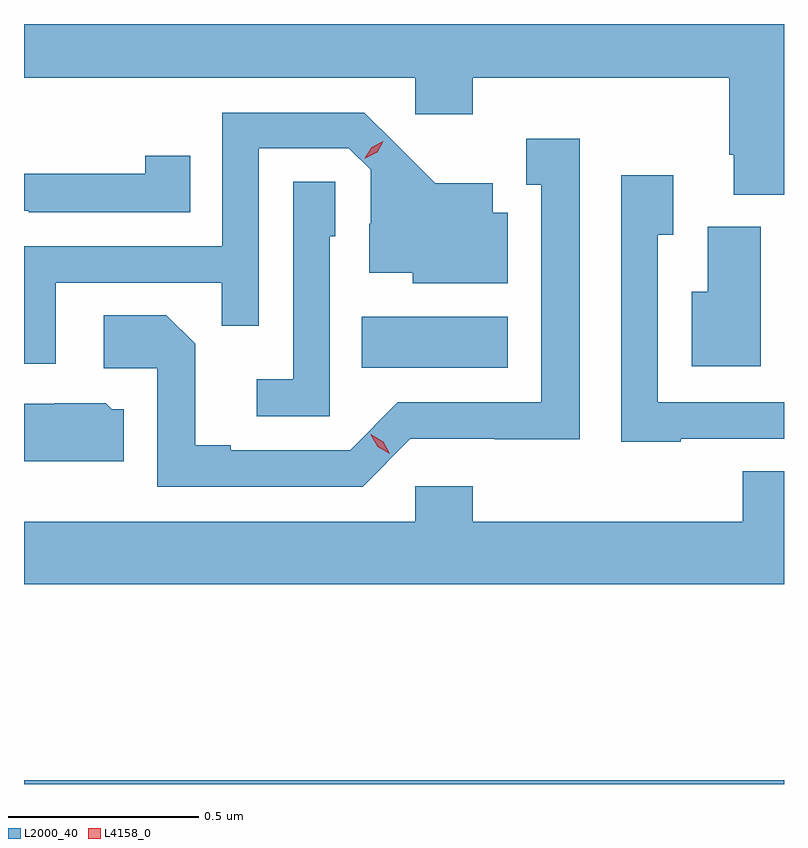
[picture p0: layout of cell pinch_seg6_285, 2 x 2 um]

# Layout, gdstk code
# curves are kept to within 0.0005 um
import gdstk
lib = gdstk.Library(unit=1e-6, precision=1e-09)
def R(c, l, rs):  # rectangles x0, y0, x1, y1
    for r in rs: c.add(gdstk.rectangle(r[:2], r[2:], *l))
def P(c, l, *ps):  # polygons
    for p in ps: c.add(gdstk.Polygon(p, *l))
L2000_40 = (2000, 40)
L4158_0 = (4158, 0)

pinch_seg6_285 = lib.new_cell('pinch_seg6_285')
R(pinch_seg6_285, L2000_40, [(831.339,984.106,833.339,984.116), (832.228,985.202,832.612,985.336)])
P(pinch_seg6_285, L2000_40, [(833.339,986.106),(831.339,986.106),(831.339,985.964),(832.368,985.964),(832.368,985.869),(832.52,985.869),(832.52,985.964),(833.195,985.964),(833.195,985.762),(833.207,985.762),(833.207,985.657),(833.339,985.657)],
  [(831.423,985.425),(831.859,985.425),(831.859,985.312),(831.957,985.312),(831.957,985.779),(832.194,985.779),(832.251,985.722),(832.251,985.58),(832.247,985.58),(832.247,985.451),(832.362,985.451),(832.362,985.424),(832.612,985.424),(832.612,985.609),(832.573,985.609),(832.573,985.687),(832.421,985.687),(832.234,985.872),(831.861,985.872),(831.861,985.521),(831.339,985.521),(831.339,985.212),(831.423,985.212)],
  [(832.356,985.014),(832.578,985.014),(832.578,985.013),(832.801,985.013),(832.801,985.804),(832.661,985.804),(832.661,985.683),(832.7,985.683),(832.7,985.11),(832.323,985.11),(832.197,984.984),(831.883,984.984),(831.883,984.997),(831.789,984.997),(831.789,985.264),(831.713,985.34),(831.549,985.34),(831.549,985.2),(831.69,985.2),(831.69,984.888),(832.23,984.888)],
  [(831.776,985.759),(831.658,985.759),(831.658,985.712),(831.339,985.712),(831.339,985.614),(831.352,985.614),(831.352,985.611),(831.776,985.611)],
  [(833.067,985.014),(833.339,985.014),(833.339,985.11),(833.007,985.11),(833.007,985.552),(833.047,985.552),(833.047,985.708),(832.911,985.708),(832.911,985.007),(833.067,985.007)],
  [(832.143,985.548),(832.158,985.548),(832.158,985.691),(832.047,985.691),(832.047,985.171),(831.951,985.171),(831.951,985.074),(832.143,985.074)],
  [(833.278,985.572),(833.138,985.572),(833.138,985.402),(833.096,985.402),(833.096,985.205),(833.278,985.205)],
  [(831.601,985.092),(831.57,985.092),(831.554,985.108),(831.42,985.108),(831.42,985.107),(831.339,985.107),(831.339,984.956),(831.601,984.956)],
  [(833.339,984.929),(833.231,984.929),(833.231,984.796),(832.52,984.796),(832.52,984.889),(832.368,984.889),(832.368,984.796),(831.339,984.796),(831.339,984.632),(833.339,984.632)])
P(pinch_seg6_285, L4158_0, [(832.302,984.975),(832.27,984.993),(832.252,985.025),(832.252,985.026),(832.252,985.026),(832.284,985.007),(832.302,984.975),(832.302,984.975)],
  [(832.236,985.753),(832.236,985.753),(832.254,985.782),(832.285,985.797),(832.285,985.797),(832.285,985.797),(832.268,985.768),(832.237,985.753)])

lib.write_gds('pinch_seg6_285.gds')
